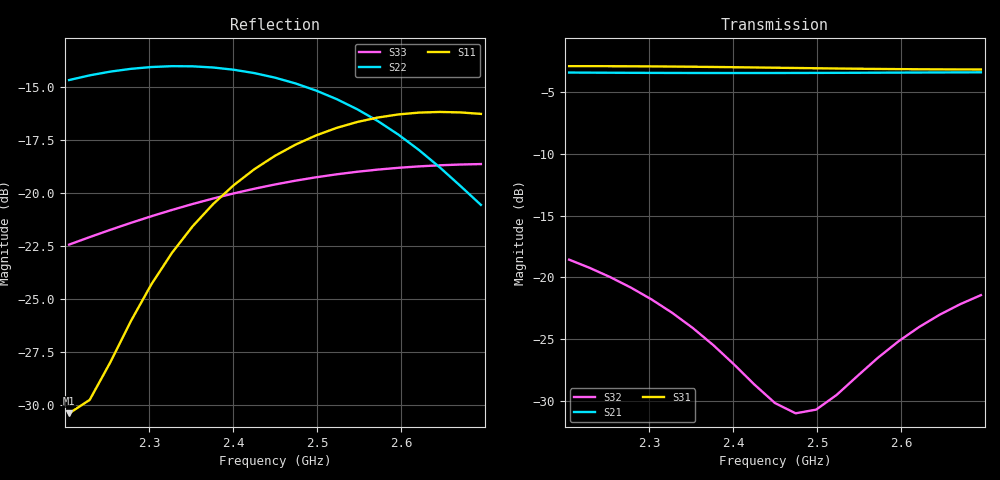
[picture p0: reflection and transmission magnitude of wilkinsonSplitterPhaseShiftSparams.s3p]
# GHz S RI R 50
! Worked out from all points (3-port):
!   21 points, 2.205 GHz to 2.695 GHz, reference 50 ohm
!   strongest paths, dB at 2.205 GHz, 2.328 GHz, 2.45 GHz, 2.572 GHz, 2.695 GHz:
!     S31: -2.9, -2.9, -3.0, -3.1, -3.1
!     S21: -3.4, -3.4, -3.4, -3.4, -3.4
!     S32: -18.6, -22.9, -30.2, -26.5, -21.4
!   lowest |S11| = -30.4 dB at 2.205 GHz (marker M1), VSWR 1.06, Z = 50.4 - j3.01 ohm
!   |S11| at or under -10 dB: start of sweep to end of sweep
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2.205  0.00439 -0.0299  -0.5855 0.3405  0.6323 0.3419
       -0.5855 0.3405  -0.0487 -0.1781  0.1086 -0.0462
       0.6323 0.3419  0.1086 -0.0462  0.0665 0.0357
2.2295  -0.0122 -0.0301  -0.5433 0.4034  0.6541 0.2983
        -0.5433 0.4034  -0.069 -0.1764  0.0948 -0.0545
        0.6541 0.2983  0.0948 -0.0545  0.0721 0.0314
2.3275  -0.0719 -0.00685  -0.3146 0.5971  0.7074 0.1123
        -0.3146 0.5971  -0.1449 -0.1366  0.0355 -0.0625
        0.7074 0.1123  0.0355 -0.0625  0.0909 0.00737
2.401  -0.1001 0.0295  -0.1005 0.6669  0.7113 -0.0306
       -0.1005 0.6669  -0.1797 -0.0765  -0.00232 -0.0444
       0.7113 -0.0306  -0.00232 -0.0444  0.0983 -0.0171
2.45  -0.108 0.0575  0.0502 0.6727  0.6977 -0.1232
      0.0502 0.6727  -0.1849 -0.0286  -0.0198 -0.0238
      0.6977 -0.1232  -0.0198 -0.0238  0.0986 -0.0352
2.4745  -0.1086 0.0715  0.1252 0.6631  0.6865 -0.1681
        0.1252 0.6631  -0.1812 -0.00428  -0.0255 -0.0118
        0.6865 -0.1681  -0.0255 -0.0118  0.0972 -0.0445
2.499  -0.1071 0.0849  0.1988 0.6452  0.6725 -0.2118
       0.1988 0.6452  -0.1733 0.0193  -0.0291 0.000793
       0.6725 -0.2118  -0.0291 0.000793  0.0947 -0.0538
2.548  -0.0987 0.109  0.3383 0.5852  0.6368 -0.2952
       0.3383 0.5852  -0.1453 0.0608  -0.0296 0.0266
       0.6368 -0.2952  -0.0296 0.0266  0.0864 -0.0715
2.597  -0.0848 0.1276  0.4615 0.4953  0.5918 -0.3726
       0.4615 0.4953  -0.1036 0.09  -0.0215 0.0507
       0.5918 -0.3726  -0.0215 0.0507  0.0741 -0.0874
2.695  -0.0508 0.145  0.6338 0.243  0.4774 -0.5076
       0.6338 0.243  -0.00153 0.0937  0.0156 0.0833
       0.4774 -0.5076  0.0156 0.0833  0.0394 -0.1101
